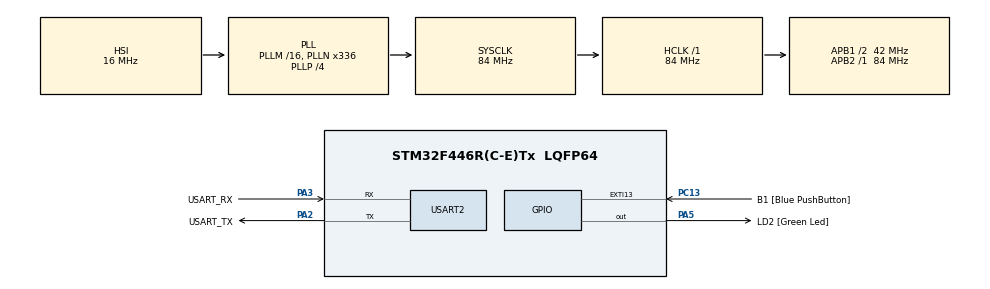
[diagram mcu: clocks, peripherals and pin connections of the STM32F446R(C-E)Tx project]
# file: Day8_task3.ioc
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FREERTOS.Tasks01=LedTask,0,128,LedFun,Default,NULL,Dynamic,NULL,NULL;SwitchTask,-3,128,SwitchFun,Default,NULL,Dynamic,NULL,NULL
Mcu.Family=STM32F4
Mcu.Name=STM32F446R(C-E)Tx
Mcu.Package=LQFP64
NVIC.PriorityGroup=NVIC_PRIORITYGROUP_4
NVIC.TIM2_IRQn=true\:15\:0\:false\:false\:true\:false\:false\:true\:true
NVIC.TimeBase=TIM2_IRQn
NVIC.TimeBaseIP=TIM2
PA13.GPIO_Label=TMS
PA13.Mode=Serial_Wire
PA13.Signal=SYS_JTMS-SWDIO
PA14.GPIO_Label=TCK
PA14.Mode=Serial_Wire
PA14.Signal=SYS_JTCK-SWCLK
PA2.GPIO_Label=USART_TX
PA2.Mode=Asynchronous
PA2.Signal=USART2_TX
PA3.GPIO_Label=USART_RX
PA3.Mode=Asynchronous
PA3.Signal=USART2_RX
PA5.GPIO_Label=LD2 [Green Led]
PA5.Signal=GPIO_Output
PB3.GPIO_Label=SWO
PB3.Signal=SYS_JTDO-SWO
PC13.GPIO_Label=B1 [Blue PushButton]
PC13.GPIO_ModeDefaultEXTI=GPIO_MODE_IT_FALLING
PC13.Signal=GPXTI13
PC14-OSC32_IN.Mode=LSE-External-Oscillator
PC14-OSC32_IN.Signal=RCC_OSC32_IN
PC15-OSC32_OUT.Mode=LSE-External-Oscillator
PC15-OSC32_OUT.Signal=RCC_OSC32_OUT
PH0-OSC_IN.Mode=HSE-External-Oscillator
PH0-OSC_IN.Signal=RCC_OSC_IN
PH1-OSC_OUT.Mode=HSE-External-Oscillator
PH1-OSC_OUT.Signal=RCC_OSC_OUT
ProjectManager.HeapSize=0x200
ProjectManager.StackSize=0x400
ProjectManager.TargetToolchain=STM32CubeIDE
RCC.48MHZClocksFreq_Value=84000000
RCC.AHBFreq_Value=84000000
RCC.APB1CLKDivider=RCC_HCLK_DIV2
RCC.APB1Freq_Value=42000000
RCC.APB1TimFreq_Value=84000000
RCC.APB2Freq_Value=84000000
RCC.APB2TimFreq_Value=84000000
RCC.CortexFreq_Value=84000000
RCC.FLatency-AdvancedSettings=FLASH_LATENCY_2
RCC.HCLKFreq_Value=84000000
RCC.HSE_VALUE=8000000
RCC.HSI_VALUE=16000000
RCC.PLLN=336
RCC.PLLP=RCC_PLLP_DIV4
RCC.SYSCLKFreq_VALUE=84000000
RCC.SYSCLKSource=RCC_SYSCLKSOURCE_PLLCLK
RCC.USBFreq_Value=168000000
RCC.VCOOutputFreq_Value=336000000
USART2.VirtualMode=VM_ASYNC
VP_FREERTOS_VS_CMSIS_V1.Mode=CMSIS_V1
VP_SYS_VS_tim2.Mode=TIM2
board=NUCLEO-F446RE

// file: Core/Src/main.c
/* USER CODE BEGIN Header */
/**
  ******************************************************************************
  * @file           : main.c
  * @brief          : Main program body
  ******************************************************************************
  * @attention
  *
  * Copyright (c) 2024 STMicroelectronics.
  * All rights reserved.
  *
  * This software is licensed under terms that can be found in the LICENSE file
  * in the root directory of this software component.
  * If no LICENSE file comes with this software, it is provided AS-IS.
  *
  ******************************************************************************
  */
/* USER CODE END Header */
#include "main.h"
#include "cmsis_os.h"

/* USER CODE BEGIN Includes */
#include "stm32f4xx_hal.h"
#include "stdio.h"
/* USER CODE END Includes */

UART_HandleTypeDef huart2;

osThreadId LedTaskHandle;
osThreadId SwitchTaskHandle;
/* USER CODE BEGIN PV */
uint8_t switch_count = 0;
uint8_t led_state = 0;
/* USER CODE END PV */

void SystemClock_Config(void);
static void MX_GPIO_Init(void);
static void MX_USART2_UART_Init(void);
void LedFun(void const * argument);
void SwitchFun(void const * argument);

/* USER CODE BEGIN 0 */
#ifdef _GNUC_
#define PUTCHAR_PROTOTYPE int __io_putchar(int ch)
#else
#define PUTCHAR_PROTOTYPE int fputc(int ch, FILE *f)
#endif

PUTCHAR_PROTOTYPE
{
  ITM_SendChar(ch);
  return ch;
}
/* USER CODE END 0 */

int main(void)
{

  /* MCU Configuration--------------------------------------------------------*/

  /* Reset of all peripherals, Initializes the Flash interface and the Systick. */
  HAL_Init();

  /* Configure the system clock */
  SystemClock_Config();

  /* Initialize all configured peripherals */
  MX_GPIO_Init();
  MX_USART2_UART_Init();

  /* Create the thread(s) */
  /* definition and creation of LedTask */
  osThreadDef(LedTask, LedFun, osPriorityNormal, 0, 128);
  LedTaskHandle = osThreadCreate(osThread(LedTask), NULL);

  /* definition and creation of SwitchTask */
  osThreadDef(SwitchTask, SwitchFun, osPriorityIdle, 0, 128);
  SwitchTaskHandle = osThreadCreate(osThread(SwitchTask), NULL);

  /* Start scheduler */
  osKernelStart();

  /* We should never get here as control is now taken by the scheduler */
  /* Infinite loop */
  while (1)
  {

  }
}

int _write(int file, char *ptr, int len)
{
  (void)file;
  int DataIdx;

  for (DataIdx = 0; DataIdx < len; DataIdx++)
  {
    ITM_SendChar(*ptr++);
  }
  return len;
}
void SystemClock_Config(void)
{
  RCC_OscInitTypeDef RCC_OscInitStruct = {0};
  RCC_ClkInitTypeDef RCC_ClkInitStruct = {0};

  /** Configure the main internal regulator output voltage
  */
  __HAL_RCC_PWR_CLK_ENABLE();
  __HAL_PWR_VOLTAGESCALING_CONFIG(PWR_REGULATOR_VOLTAGE_SCALE3);

  /** Initializes the RCC Oscillators according to the specified parameters
  * in the RCC_OscInitTypeDef structure.
  */
  RCC_OscInitStruct.OscillatorType = RCC_OSCILLATORTYPE_HSI;
  RCC_OscInitStruct.HSIState = RCC_HSI_ON;
  RCC_OscInitStruct.HSICalibrationValue = RCC_HSICALIBRATION_DEFAULT;
  RCC_OscInitStruct.PLL.PLLState = RCC_PLL_ON;
  RCC_OscInitStruct.PLL.PLLSource = RCC_PLLSOURCE_HSI;
  RCC_OscInitStruct.PLL.PLLM = 16;
  RCC_OscInitStruct.PLL.PLLN = 336;
  RCC_OscInitStruct.PLL.PLLP = RCC_PLLP_DIV4;
  RCC_OscInitStruct.PLL.PLLQ = 2;
  RCC_OscInitStruct.PLL.PLLR = 2;
  if (HAL_RCC_OscConfig(&RCC_OscInitStruct) != HAL_OK)
  {
    Error_Handler();
  }

  /** Initializes the CPU, AHB and APB buses clocks
  */
  RCC_ClkInitStruct.ClockType = RCC_CLOCKTYPE_HCLK|RCC_CLOCKTYPE_SYSCLK
                              |RCC_CLOCKTYPE_PCLK1|RCC_CLOCKTYPE_PCLK2;
  RCC_ClkInitStruct.SYSCLKSource = RCC_SYSCLKSOURCE_PLLCLK;
  RCC_ClkInitStruct.AHBCLKDivider = RCC_SYSCLK_DIV1;
  RCC_ClkInitStruct.APB1CLKDivider = RCC_HCLK_DIV2;
  RCC_ClkInitStruct.APB2CLKDivider = RCC_HCLK_DIV1;

  if (HAL_RCC_ClockConfig(&RCC_ClkInitStruct, FLASH_LATENCY_2) != HAL_OK)
  {
    Error_Handler();
  }
}

static void MX_USART2_UART_Init(void)
{

  huart2.Instance = USART2;
  huart2.Init.BaudRate = 115200;
  huart2.Init.WordLength = UART_WORDLENGTH_8B;
  huart2.Init.StopBits = UART_STOPBITS_1;
  huart2.Init.Parity = UART_PARITY_NONE;
  huart2.Init.Mode = UART_MODE_TX_RX;
  huart2.Init.HwFlowCtl = UART_HWCONTROL_NONE;
  huart2.Init.OverSampling = UART_OVERSAMPLING_16;
  if (HAL_UART_Init(&huart2) != HAL_OK)
  {
    Error_Handler();
  }

}

static void MX_GPIO_Init(void)
{
  GPIO_InitTypeDef GPIO_InitStruct = {0};

  /* GPIO Ports Clock Enable */
  __HAL_RCC_GPIOC_CLK_ENABLE();
  __HAL_RCC_GPIOH_CLK_ENABLE();
  __HAL_RCC_GPIOA_CLK_ENABLE();
  __HAL_RCC_GPIOB_CLK_ENABLE();

  /*Configure GPIO pin Output Level */
  HAL_GPIO_WritePin(LD2_GPIO_Port, LD2_Pin, GPIO_PIN_RESET);

  /*Configure GPIO pin : B1_Pin */
  GPIO_InitStruct.Pin = B1_Pin;
  GPIO_InitStruct.Mode = GPIO_MODE_IT_FALLING;
  GPIO_InitStruct.Pull = GPIO_NOPULL;
  HAL_GPIO_Init(B1_GPIO_Port, &GPIO_InitStruct);

  /*Configure GPIO pin : LD2_Pin */
  GPIO_InitStruct.Pin = LD2_Pin;
  GPIO_InitStruct.Mode = GPIO_MODE_OUTPUT_PP;
  GPIO_InitStruct.Pull = GPIO_NOPULL;
  GPIO_InitStruct.Speed = GPIO_SPEED_FREQ_LOW;
  HAL_GPIO_Init(LD2_GPIO_Port, &GPIO_InitStruct);

}

void LedFun(void const * argument)
{
  /* USER CODE BEGIN 5 */
  /* Infinite loop */
  for(;;)
  {
	  //HAL_GPIO_TogglePin(GPIOA, GPIO_PIN_5);
    osDelay(10);
  }
  /* USER CODE END 5 */
}

void SwitchFun(void const * argument)
{
  /* USER CODE BEGIN SwitchFun */
  /* Infinite loop */
  for(;;)
  {
	  if (HAL_GPIO_ReadPin(GPIOC, GPIO_PIN_13) == GPIO_PIN_RESET) // Assuming the button is on PC13
	      {
	        HAL_Delay(200); // Debounce delay
	        if (HAL_GPIO_ReadPin(GPIOC, GPIO_PIN_13) == GPIO_PIN_RESET) // Check if button is still pressed
	        {
	          switch_count++;
	          led_state = !led_state;
	          HAL_GPIO_WritePin(GPIOA, GPIO_PIN_5, (led_state) ? GPIO_PIN_SET : GPIO_PIN_RESET);
	          printf("Switch pressed %d times\n", switch_count);
	          printf("LED %s\n", (led_state) ? "ON" : "OFF");

	          while (HAL_GPIO_ReadPin(GPIOC, GPIO_PIN_13) == GPIO_PIN_RESET); // Wait until button is released
	        }
	      }
	      osDelay(100);
  }
  /* USER CODE END SwitchFun */
}

void HAL_TIM_PeriodElapsedCallback(TIM_HandleTypeDef *htim)
{
  if (htim->Instance == TIM2) {
    HAL_IncTick();
  }
}

void Error_Handler(void)
{
  __disable_irq();
  while (1)
  {
  }
}
